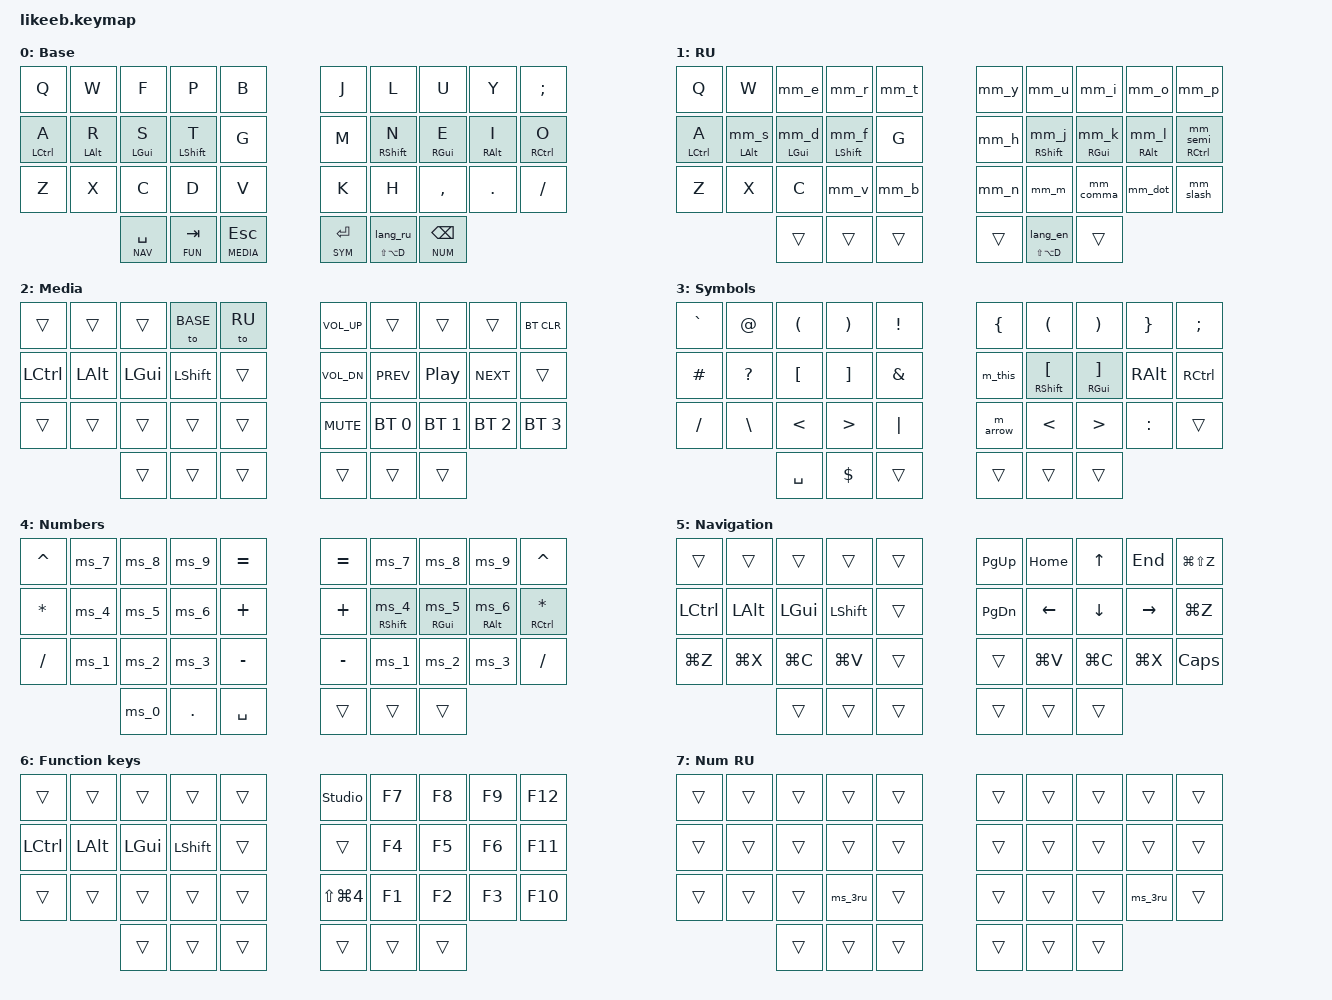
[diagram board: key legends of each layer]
#include <behaviors.dtsi>
#include <dt-bindings/zmk/bt.h>
#include <dt-bindings/zmk/keys.h>

// Порядок важен: RU сразу над Base, моментальные слои выше RU.
#define BASE  0
#define RU    1
#define MEDIA 2
#define SYM   3
#define NUM   4
#define NAV   5
#define FUN   6
#define NUM_RU 7   // условный: RU + NUM, только № вместо #

// Под этими модификаторами клавиша слоя RU шлёт код Colemak.
#define CAC (MOD_LGUI|MOD_RGUI|MOD_LALT|MOD_RALT|MOD_LCTL|MOD_RCTL)

// Любой Shift: цифры слоя Num дают русский ряд символов.
#define SHIFTS (MOD_LSFT|MOD_RSFT)

// Слои, на которых действуют латинские комбо (все, кроме RU).
#define LATIN_LAYERS BASE MEDIA SYM NUM NAV FUN

// Позиции противоположной руки для hold-trigger (как раньше).
#define RIGHT_HAND 29 19 9 28 18 8 27 17 7 26 16 6 5 15 25
#define LEFT_HAND  0 10 20 21 11 1 22 12 2 3 13 23 24 14 4

/ {
    conditional_layers {
        compatible = "zmk,conditional-layers";
        num_ru {
            if-layers = <RU NUM>;
            then-layer = <NUM_RU>;
        };
    };

    combos {
        compatible = "zmk,combos";

        kp_bslh { bindings = <&kp BACKSLASH>;         key-positions = <0 10>;  layers = <LATIN_LAYERS>; };
        kp_lbkt { bindings = <&kp LEFT_BRACKET>;      key-positions = <9 19>;  layers = <LATIN_LAYERS>; };
        kp_rbkt { bindings = <&kp RIGHT_BRACKET>;     key-positions = <8 18>;  layers = <LATIN_LAYERS>; };
        kp_apos { bindings = <&kp APOS>;              key-positions = <19 29>; layers = <LATIN_LAYERS>; };

        ru_yo   { bindings = <&kp KP_N1>; key-positions = <0 10>;  layers = <RU>; }; // ё
        ru_hard { bindings = <&kp KP_N2>; key-positions = <8 18>;  layers = <RU>; }; // ъ
        ru_ha   { bindings = <&kp KP_N3>; key-positions = <9 19>;  layers = <RU>; }; // х
        ru_e    { bindings = <&kp KP_N5>; key-positions = <19 29>; layers = <RU>; }; // э
    };

    macros {
        // Одно нажатие: язык macOS и слой прошивки. F19 — русский, F18 — английский:
        // служба likeeb-english на Маке включает по ним нужный источник ввода (macos/).
        lang_ru: lang_ru {
            compatible = "zmk,behavior-macro";
            #binding-cells = <0>;
            bindings = <&macro_tap &kp F19 &tog RU>;
        };

        lang_en: lang_en {
            compatible = "zmk,behavior-macro";
            #binding-cells = <0>;
            bindings = <&macro_tap &kp F18 &tog RU>;
        };

        m_arrow: m_arrow {
            compatible = "zmk,behavior-macro";
            #binding-cells = <0>;
            bindings = <&kp MINUS &kp GT>;
        };

        m_darrow: m_darrow {
            compatible = "zmk,behavior-macro";
            #binding-cells = <0>;
            bindings = <&kp EQUAL &kp GT>;
        };

        // Буквы теперь буквальные: T H I S, а не позиции QWERTY.
        m_this: m_this {
            compatible = "zmk,behavior-macro";
            #binding-cells = <0>;
            bindings = <&kp DLLR &kp T &kp H &kp I &kp S &kp MINUS &kp GT>;
        };
    };

    behaviors {
        // Средняя клавиша правого большого пальца: тап — язык, удержание — диктовка Aqua Voice (Shift+Alt+D).
        // На Base тап включает русский, на RU — английский. Вызов: &dict_ru LS(LA(D)) 0.
        dict_ru: dictation_or_russian {
            compatible = "zmk,behavior-hold-tap";
            #binding-cells = <2>;
            bindings = <&kp>, <&lang_ru>;
            flavor = "tap-preferred";
            tapping-term-ms = <200>;
        };

        dict_en: dictation_or_english {
            compatible = "zmk,behavior-hold-tap";
            #binding-cells = <2>;
            bindings = <&kp>, <&lang_en>;
            flavor = "tap-preferred";
            tapping-term-ms = <200>;
        };

        // ---------- home-row mods латиницы (без изменений) ----------
        lht: left_hold_tap {
            compatible = "zmk,behavior-hold-tap";
            #binding-cells = <2>;
            bindings = <&kp>, <&kp>;
            flavor = "balanced";
            tapping-term-ms = <280>;
            quick-tap-ms = <175>;
            require-prior-idle-ms = <125>;
            hold-trigger-key-positions = <RIGHT_HAND>;
            hold-trigger-on-release;
        };

        rht: right_hold_tap {
            compatible = "zmk,behavior-hold-tap";
            #binding-cells = <2>;
            bindings = <&kp>, <&kp>;
            flavor = "balanced";
            tapping-term-ms = <280>;
            quick-tap-ms = <175>;
            require-prior-idle-ms = <125>;
            hold-trigger-key-positions = <LEFT_HAND>;
            hold-trigger-on-release;
        };

        lht_shift: left_hold_tap_shift {
            compatible = "zmk,behavior-hold-tap";
            #binding-cells = <2>;
            bindings = <&kp>, <&kp>;
            flavor = "balanced";
            tapping-term-ms = <300>;
            quick-tap-ms = <175>;
            require-prior-idle-ms = <0>;
            hold-trigger-key-positions = <RIGHT_HAND 35 34 33 31 30 32>;
            hold-trigger-on-release;
        };

        rht_shift: right_hold_tap_shift {
            compatible = "zmk,behavior-hold-tap";
            #binding-cells = <2>;
            bindings = <&kp>, <&kp>;
            flavor = "balanced";
            tapping-term-ms = <300>;
            quick-tap-ms = <175>;
            require-prior-idle-ms = <0>;
            hold-trigger-key-positions = <LEFT_HAND 30 31 32>;
            hold-trigger-on-release;
        };

        // ---------- home-row mods слоя RU: удержание тот же модификатор, тап mod-morph ----------
        // Вызов: &lht_s LALT 0 (второй параметр игнорируется, у морфа нет параметров).
        lht_s: left_hold_tap_s {
            compatible = "zmk,behavior-hold-tap";
            #binding-cells = <2>;
            bindings = <&kp>, <&mm_s>;
            flavor = "balanced";
            tapping-term-ms = <280>;
            quick-tap-ms = <175>;
            require-prior-idle-ms = <125>;
            hold-trigger-key-positions = <RIGHT_HAND>;
            hold-trigger-on-release;
        };

        lht_d: left_hold_tap_d {
            compatible = "zmk,behavior-hold-tap";
            #binding-cells = <2>;
            bindings = <&kp>, <&mm_d>;
            flavor = "balanced";
            tapping-term-ms = <280>;
            quick-tap-ms = <175>;
            require-prior-idle-ms = <125>;
            hold-trigger-key-positions = <RIGHT_HAND>;
            hold-trigger-on-release;
        };

        lht_f: left_hold_tap_f {
            compatible = "zmk,behavior-hold-tap";
            #binding-cells = <2>;
            bindings = <&kp>, <&mm_f>;
            flavor = "balanced";
            tapping-term-ms = <300>;
            quick-tap-ms = <175>;
            require-prior-idle-ms = <0>;
            hold-trigger-key-positions = <RIGHT_HAND 35 34 33 31 30 32>;
            hold-trigger-on-release;
        };

        rht_j: right_hold_tap_j {
            compatible = "zmk,behavior-hold-tap";
            #binding-cells = <2>;
            bindings = <&kp>, <&mm_j>;
            flavor = "balanced";
            tapping-term-ms = <300>;
            quick-tap-ms = <175>;
            require-prior-idle-ms = <0>;
            hold-trigger-key-positions = <LEFT_HAND 30 31 32>;
            hold-trigger-on-release;
        };

        rht_k: right_hold_tap_k {
            compatible = "zmk,behavior-hold-tap";
            #binding-cells = <2>;
            bindings = <&kp>, <&mm_k>;
            flavor = "balanced";
            tapping-term-ms = <280>;
            quick-tap-ms = <175>;
            require-prior-idle-ms = <125>;
            hold-trigger-key-positions = <LEFT_HAND>;
            hold-trigger-on-release;
        };

        rht_l: right_hold_tap_l {
            compatible = "zmk,behavior-hold-tap";
            #binding-cells = <2>;
            bindings = <&kp>, <&mm_l>;
            flavor = "balanced";
            tapping-term-ms = <280>;
            quick-tap-ms = <175>;
            require-prior-idle-ms = <125>;
            hold-trigger-key-positions = <LEFT_HAND>;
            hold-trigger-on-release;
        };

        rht_semi: right_hold_tap_semi {
            compatible = "zmk,behavior-hold-tap";
            #binding-cells = <2>;
            bindings = <&kp>, <&mm_semi>;
            flavor = "balanced";
            tapping-term-ms = <280>;
            quick-tap-ms = <175>;
            require-prior-idle-ms = <125>;
            hold-trigger-key-positions = <LEFT_HAND>;
            hold-trigger-on-release;
        };

        // ---------- цифры слоя Num: тап цифра, с Shift русский ряд ! " № ; % : ? * ( ) ----------
        // В английском Shift+3 даёт #, в русском № через условный слой NUM_RU.
        ms_1: ms_1 { compatible = "zmk,behavior-mod-morph"; #binding-cells = <0>; bindings = <&kp N1>, <&kp EXCL>;  mods = <SHIFTS>; };
        ms_2: ms_2 { compatible = "zmk,behavior-mod-morph"; #binding-cells = <0>; bindings = <&kp N2>, <&kp DQT>;   mods = <SHIFTS>; };
        ms_3: ms_3 { compatible = "zmk,behavior-mod-morph"; #binding-cells = <0>; bindings = <&kp N3>, <&kp HASH>;  mods = <SHIFTS>; };
        ms_3ru: ms_3ru { compatible = "zmk,behavior-mod-morph"; #binding-cells = <0>; bindings = <&kp N3>, <&kp KP_N8>; mods = <SHIFTS>; }; // № в русском (Keypad 8 в Russian – Likeeb)
        ms_4: ms_4 { compatible = "zmk,behavior-mod-morph"; #binding-cells = <0>; bindings = <&kp N4>, <&kp SEMI>;  mods = <SHIFTS>; };
        ms_5: ms_5 { compatible = "zmk,behavior-mod-morph"; #binding-cells = <0>; bindings = <&kp N5>, <&kp PRCNT>; mods = <SHIFTS>; };
        ms_6: ms_6 { compatible = "zmk,behavior-mod-morph"; #binding-cells = <0>; bindings = <&kp N6>, <&kp COLON>; mods = <SHIFTS>; };
        ms_7: ms_7 { compatible = "zmk,behavior-mod-morph"; #binding-cells = <0>; bindings = <&kp N7>, <&kp QMARK>; mods = <SHIFTS>; };
        ms_8: ms_8 { compatible = "zmk,behavior-mod-morph"; #binding-cells = <0>; bindings = <&kp N8>, <&kp STAR>;  mods = <SHIFTS>; };
        ms_9: ms_9 { compatible = "zmk,behavior-mod-morph"; #binding-cells = <0>; bindings = <&kp N9>, <&kp LPAR>;  mods = <SHIFTS>; };
        ms_0: ms_0 { compatible = "zmk,behavior-mod-morph"; #binding-cells = <0>; bindings = <&kp N0>, <&kp RPAR>;  mods = <SHIFTS>; };

        // home-row mods правой руки на слое Num с морфом цифры на тапе
        rht_n4: right_hold_tap_n4 {
            compatible = "zmk,behavior-hold-tap";
            #binding-cells = <2>;
            bindings = <&kp>, <&ms_4>;
            flavor = "balanced";
            tapping-term-ms = <280>;
            quick-tap-ms = <175>;
            require-prior-idle-ms = <125>;
            hold-trigger-key-positions = <LEFT_HAND>;
            hold-trigger-on-release;
        };

        rht_n5: right_hold_tap_n5 {
            compatible = "zmk,behavior-hold-tap";
            #binding-cells = <2>;
            bindings = <&kp>, <&ms_5>;
            flavor = "balanced";
            tapping-term-ms = <280>;
            quick-tap-ms = <175>;
            require-prior-idle-ms = <125>;
            hold-trigger-key-positions = <LEFT_HAND>;
            hold-trigger-on-release;
        };

        rht_n6: right_hold_tap_n6 {
            compatible = "zmk,behavior-hold-tap";
            #binding-cells = <2>;
            bindings = <&kp>, <&ms_6>;
            flavor = "balanced";
            tapping-term-ms = <280>;
            quick-tap-ms = <175>;
            require-prior-idle-ms = <125>;
            hold-trigger-key-positions = <LEFT_HAND>;
            hold-trigger-on-release;
        };

        // ---------- mod-morph слоя RU ----------
        // Без модификаторов: код позиции QWERTY (буква ЙЦУКЕН в Russian – Likeeb).
        // С Cmd/Alt/Ctrl: код Colemak-DH той же физической клавиши. keep-mods обязателен.
        mm_e: mm_e { compatible = "zmk,behavior-mod-morph"; #binding-cells = <0>; bindings = <&kp E>, <&kp F>; mods = <CAC>; keep-mods = <CAC>; };
        mm_r: mm_r { compatible = "zmk,behavior-mod-morph"; #binding-cells = <0>; bindings = <&kp R>, <&kp P>; mods = <CAC>; keep-mods = <CAC>; };
        mm_t: mm_t { compatible = "zmk,behavior-mod-morph"; #binding-cells = <0>; bindings = <&kp T>, <&kp B>; mods = <CAC>; keep-mods = <CAC>; };
        mm_y: mm_y { compatible = "zmk,behavior-mod-morph"; #binding-cells = <0>; bindings = <&kp Y>, <&kp J>; mods = <CAC>; keep-mods = <CAC>; };
        mm_u: mm_u { compatible = "zmk,behavior-mod-morph"; #binding-cells = <0>; bindings = <&kp U>, <&kp L>; mods = <CAC>; keep-mods = <CAC>; };
        mm_i: mm_i { compatible = "zmk,behavior-mod-morph"; #binding-cells = <0>; bindings = <&kp I>, <&kp U>; mods = <CAC>; keep-mods = <CAC>; };
        mm_o: mm_o { compatible = "zmk,behavior-mod-morph"; #binding-cells = <0>; bindings = <&kp O>, <&kp Y>; mods = <CAC>; keep-mods = <CAC>; };
        mm_p: mm_p { compatible = "zmk,behavior-mod-morph"; #binding-cells = <0>; bindings = <&kp P>, <&kp SEMI>; mods = <CAC>; keep-mods = <CAC>; };

        mm_s: mm_s { compatible = "zmk,behavior-mod-morph"; #binding-cells = <0>; bindings = <&kp S>, <&kp R>; mods = <CAC>; keep-mods = <CAC>; };
        mm_d: mm_d { compatible = "zmk,behavior-mod-morph"; #binding-cells = <0>; bindings = <&kp D>, <&kp S>; mods = <CAC>; keep-mods = <CAC>; };
        mm_f: mm_f { compatible = "zmk,behavior-mod-morph"; #binding-cells = <0>; bindings = <&kp F>, <&kp T>; mods = <CAC>; keep-mods = <CAC>; };
        mm_h: mm_h { compatible = "zmk,behavior-mod-morph"; #binding-cells = <0>; bindings = <&kp H>, <&kp M>; mods = <CAC>; keep-mods = <CAC>; };
        mm_j: mm_j { compatible = "zmk,behavior-mod-morph"; #binding-cells = <0>; bindings = <&kp J>, <&kp N>; mods = <CAC>; keep-mods = <CAC>; };
        mm_k: mm_k { compatible = "zmk,behavior-mod-morph"; #binding-cells = <0>; bindings = <&kp K>, <&kp E>; mods = <CAC>; keep-mods = <CAC>; };
        mm_l: mm_l { compatible = "zmk,behavior-mod-morph"; #binding-cells = <0>; bindings = <&kp L>, <&kp I>; mods = <CAC>; keep-mods = <CAC>; };
        mm_semi: mm_semi { compatible = "zmk,behavior-mod-morph"; #binding-cells = <0>; bindings = <&kp KP_N4>, <&kp O>; mods = <CAC>; keep-mods = <CAC>; }; // ж

        mm_v: mm_v { compatible = "zmk,behavior-mod-morph"; #binding-cells = <0>; bindings = <&kp V>, <&kp D>; mods = <CAC>; keep-mods = <CAC>; };
        mm_b: mm_b { compatible = "zmk,behavior-mod-morph"; #binding-cells = <0>; bindings = <&kp B>, <&kp V>; mods = <CAC>; keep-mods = <CAC>; };
        mm_n: mm_n { compatible = "zmk,behavior-mod-morph"; #binding-cells = <0>; bindings = <&kp N>, <&kp K>; mods = <CAC>; keep-mods = <CAC>; };
        mm_m: mm_m { compatible = "zmk,behavior-mod-morph"; #binding-cells = <0>; bindings = <&kp M>, <&kp H>; mods = <CAC>; keep-mods = <CAC>; };
        mm_comma: mm_comma { compatible = "zmk,behavior-mod-morph"; #binding-cells = <0>; bindings = <&kp KP_N6>, <&kp COMMA>; mods = <CAC>; keep-mods = <CAC>; }; // б
        mm_dot: mm_dot { compatible = "zmk,behavior-mod-morph"; #binding-cells = <0>; bindings = <&kp KP_N7>, <&kp DOT>; mods = <CAC>; keep-mods = <CAC>; }; // ю

        // Клавиша "/" в RU: точка, с Shift запятая, под Cmd/Alt/Ctrl обычный слэш.
        mm_slash_sh: mm_slash_sh { compatible = "zmk,behavior-mod-morph"; #binding-cells = <0>; bindings = <&kp DOT>, <&kp COMMA>; mods = <(MOD_LSFT|MOD_RSFT)>; };
        mm_slash: mm_slash { compatible = "zmk,behavior-mod-morph"; #binding-cells = <0>; bindings = <&mm_slash_sh>, <&kp FSLH>; mods = <CAC>; keep-mods = <CAC>; };
    };

    keymap {
        compatible = "zmk,keymap";

        Base {
            display-name = "Base";
            bindings = <
&kp Q         &kp W        &kp F        &kp P               &kp B        &kp J         &kp L               &kp U            &kp Y        &kp SEMI
&lht LCTRL A  &lht LALT R  &lht LGUI S  &lht_shift LSHFT T  &kp G        &kp M         &rht_shift RSHFT N  &rht RGUI E      &rht RALT I  &rht RCTRL O
&kp Z         &kp X        &kp C        &kp D               &kp V        &kp K         &kp H               &kp COMMA        &kp DOT      &kp FSLH
                           &lt NAV SPACE  &lt FUN TAB      &lt MEDIA ESC    &lt SYM RETURN  &dict_ru LS(LA(D)) 0  &lt NUM BACKSPACE
            >;
        };

        RU {
            display-name = "RU";
            bindings = <
&kp Q         &kp W          &mm_e          &mm_r           &mm_t        &mm_y         &mm_u           &mm_i          &mm_o          &mm_p
&lht LCTRL A  &lht_s LALT 0  &lht_d LGUI 0  &lht_f LSHFT 0  &kp G        &mm_h         &rht_j RSHFT 0  &rht_k RGUI 0  &rht_l RALT 0  &rht_semi RCTRL 0
&kp Z         &kp X          &kp C          &mm_v           &mm_b        &mm_n         &mm_m           &mm_comma      &mm_dot        &mm_slash
                             &trans         &trans          &trans       &trans        &dict_en LS(LA(D)) 0  &trans
            >;
        };

        Media {
            display-name = "Media";
            bindings = <
&trans     &trans    &trans    &to BASE   &to RU    &kp C_VOL_UP  &trans        &trans        &trans        &bt BT_CLR
&kp LCTRL  &kp LALT  &kp LGUI  &kp LSHFT  &trans    &kp C_VOL_DN  &kp C_PREV    &kp C_PP      &kp C_NEXT    &trans
&trans     &trans    &trans    &trans     &trans    &kp C_MUTE    &bt BT_SEL 0  &bt BT_SEL 1  &bt BT_SEL 2  &bt BT_SEL 3
                     &trans    &trans     &trans    &trans        &trans        &trans
            >;
        };

        Sym {
            display-name = "Symbols";
            bindings = <
&kp GRAVE  &kp AT     &kp LPAR   &kp RPAR    &kp EXCL         &kp LEFT_BRACE  &kp LEFT_PARENTHESIS     &kp RIGHT_PARENTHESIS    &kp RIGHT_BRACE  &kp SEMI
&kp HASH   &kp QMARK  &kp LBKT   &kp RBKT    &kp AMPERSAND    &m_this         &rht RSHFT LEFT_BRACKET  &rht RGUI RIGHT_BRACKET  &kp RALT         &kp RCTRL
&kp FSLH   &kp BSLH   &kp LT     &kp GT      &kp PIPE         &m_arrow        &kp LT                   &kp GT                   &kp COLON        &trans
                      &kp SPACE  &kp DOLLAR  &trans           &trans          &trans                   &trans
            >;
        };

        Num {
            display-name = "Numbers";
            bindings = <
&kp CARET  &ms_7   &ms_8   &ms_9    &kp EQUAL    &kp EQUAL  &ms_7            &ms_8           &ms_9           &kp CARET
&kp STAR   &ms_4   &ms_5   &ms_6    &kp PLUS     &kp PLUS   &rht_n4 RSHFT 0  &rht_n5 RGUI 0  &rht_n6 RALT 0  &rht RCTRL ASTERISK
&kp SLASH  &ms_1   &ms_2   &ms_3    &kp MINUS    &kp MINUS  &ms_1            &ms_2           &ms_3           &kp SLASH
                   &ms_0   &kp DOT  &kp SPACE    &trans     &trans           &trans
            >;
        };

        Nav {
            display-name = "Navigation";
            // LG(V) теперь значит Cmd+V в любом языке и любой программе.
            bindings = <
&trans     &trans     &trans     &trans     &trans       &kp PG_UP  &kp HOME   &kp UP     &kp END    &kp LG(LS(Z))
&kp LCTRL  &kp LALT   &kp LGUI   &kp LSHFT  &trans       &kp PG_DN  &kp LEFT   &kp DOWN   &kp RIGHT  &kp LG(Z)
&kp LG(Z)  &kp LG(X)  &kp LG(C)  &kp LG(V)  &trans       &trans     &kp LG(V)  &kp LG(C)  &kp LG(X)  &kp CAPSLOCK
                      &trans     &trans     &trans       &trans     &trans     &trans
            >;
        };

        Fun {
            display-name = "Function keys";
            bindings = <
&trans     &trans    &trans    &trans     &trans    &studio_unlock  &kp F7  &kp F8  &kp F9  &kp F12
&kp LCTRL  &kp LALT  &kp LGUI  &kp LSHFT  &trans    &trans          &kp F4  &kp F5  &kp F6  &kp F11
&trans     &trans    &trans    &trans     &trans    &kp LS(LG(N4))  &kp F1  &kp F2  &kp F3  &kp F10
                     &trans    &trans     &trans    &trans          &trans  &trans
            >;
        };

        NumRU {
            display-name = "Num RU";
            // Включается сам, когда активны RU и Num: только № вместо #.
            bindings = <
&trans  &trans  &trans  &trans   &trans    &trans  &trans  &trans  &trans   &trans
&trans  &trans  &trans  &trans   &trans    &trans  &trans  &trans  &trans   &trans
&trans  &trans  &trans  &ms_3ru  &trans    &trans  &trans  &trans  &ms_3ru  &trans
                &trans  &trans   &trans    &trans  &trans  &trans
            >;
        };
    };
};
